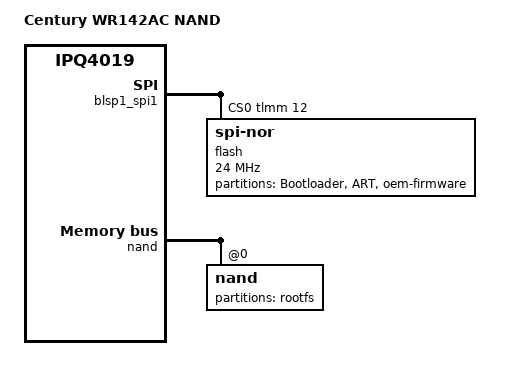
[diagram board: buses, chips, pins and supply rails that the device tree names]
// SPDX-License-Identifier: GPL-2.0-or-later OR MIT

#include "qcom-ipq4019-wr142ac.dtsi"

/ {
	model = "Century WR142AC NAND";
	compatible = "century,wr142ac-nand";

	chosen {
		bootargs-append = " root=/dev/ubiblock0_1 rootfstype=squashfs";
	};
};

&blsp1_spi1 {
	pinctrl-0 = <&spi_0_pins>;
	pinctrl-names = "default";
	status = "okay";
	cs-gpios = <&tlmm 12 GPIO_ACTIVE_HIGH>;

	flash@0 {
		reg = <0>;
		compatible = "jedec,spi-nor";
		spi-max-frequency = <24000000>;

		partitions {
			compatible = "fixed-partitions";
			#address-cells = <1>;
			#size-cells = <1>;

			partition@0 {
				label = "Bootloader";
				reg = <0x0 0x170000>;
			};

			partition@170000 {
				label = "ART";
				reg = <0x170000 0x10000>;
				read-only;
			};

			partition@180000 {
				label = "oem-firmware";
				reg = <0x180000 0x1e80000>;
			};
		};
	};
};

&nand {
	status = "okay";

	nand@0 {
		partitions {
			compatible = "fixed-partitions";
			#address-cells = <1>;
			#size-cells = <1>;

			partition@0 {
				label = "rootfs";
				reg = <0x0 0x8000000>;
			};
		};
	};
};
